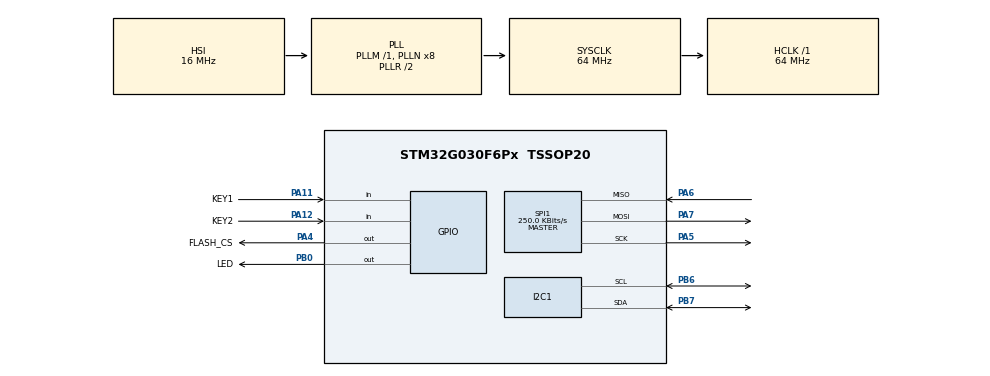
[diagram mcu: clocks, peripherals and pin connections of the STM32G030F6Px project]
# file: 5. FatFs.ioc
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FATFS._CODE_PAGE=437
FATFS._MAX_SS=4096
FATFS._USE_LFN=0
I2C1.Timing=0x10707DBC
Mcu.Family=STM32G0
Mcu.Name=STM32G030F6Px
Mcu.Package=TSSOP20
PA11\ [PA9].GPIO_Label=KEY1
PA11\ [PA9].GPIO_PuPd=GPIO_PULLUP
PA11\ [PA9].Signal=GPIO_Input
PA12\ [PA10].GPIO_Label=KEY2
PA12\ [PA10].GPIO_PuPd=GPIO_PULLUP
PA12\ [PA10].Signal=GPIO_Input
PA14-BOOT0__PA15.StandardMode=true
PA4.GPIO_Label=FLASH_CS
PA4.PinState=GPIO_PIN_SET
PA4.Signal=GPIO_Output
PA5.Mode=Full_Duplex_Master
PA5.Signal=SPI1_SCK
PA6.Mode=Full_Duplex_Master
PA6.Signal=SPI1_MISO
PA7.Mode=Full_Duplex_Master
PA7.Signal=SPI1_MOSI
PB0.GPIO_Label=LED
PB0.PinState=GPIO_PIN_SET
PB0.Signal=GPIO_Output
PB0__PB1__PB2__PA8.StandardMode=true
PB3__PB4__PB5__PB6.StandardMode=true
PB6.Mode=I2C
PB6.Signal=I2C1_SCL
PB7.Mode=I2C
PB7.Signal=I2C1_SDA
PB7__PB8.StandardMode=true
PC14-OSC32_IN\ (PC14)__PB9.StandardMode=true
ProjectManager.HeapSize=0x600
ProjectManager.StackSize=0x200
ProjectManager.TargetToolchain=MDK-ARM V5.32
RCC.ADCFreq_Value=64000000
RCC.AHBFreq_Value=64000000
RCC.CortexFreq_Value=64000000
RCC.EXTERNAL_CLOCK_VALUE=12288000
RCC.HCLKFreq_Value=64000000
RCC.HSE_VALUE=8000000
RCC.HSI_VALUE=16000000
RCC.LSE_VALUE=32768
RCC.SYSCLKFreq_VALUE=64000000
RCC.SYSCLKSource=RCC_SYSCLKSOURCE_PLLCLK
RCC.VCOOutputFreq_Value=128000000
SPI1.BaudRatePrescaler=SPI_BAUDRATEPRESCALER_256
SPI1.CLKPhase=SPI_PHASE_1EDGE
SPI1.CLKPolarity=SPI_POLARITY_LOW
SPI1.CalculateBaudRate=250.0 KBits/s
SPI1.Direction=SPI_DIRECTION_2LINES
SPI1.Mode=SPI_MODE_MASTER
SPI1.VirtualType=VM_MASTER
VP_FATFS_VS_Generic.Mode=User_defined
board=custom

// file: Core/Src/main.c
/* USER CODE BEGIN Header */
/**
  ******************************************************************************
  * @file           : main.c
  * @brief          : Main program body
  ******************************************************************************
  * @attention
  *
  * Copyright (c) 2023 STMicroelectronics.
  * All rights reserved.
  *
  * This software is licensed under terms that can be found in the LICENSE file
  * in the root directory of this software component.
  * If no LICENSE file comes with this software, it is provided AS-IS.
  *
  ******************************************************************************
  */
/* USER CODE END Header */
#include "main.h"
#include "app_fatfs.h"
#include "i2c.h"
#include "spi.h"
#include "gpio.h"

/* USER CODE BEGIN Includes */

#include "math.h"

#include "delay.h"

#include "w25qxx.h"
#include "OLED.h"

#include "ff.h"

/* USER CODE END Includes */

void SystemClock_Config(void);

int main(void)
{
  /* USER CODE BEGIN 1 */

	FRESULT fre;
	FATFS frs;

  /* USER CODE END 1 */

  /* MCU Configuration--------------------------------------------------------*/

  /* Reset of all peripherals, Initializes the Flash interface and the Systick. */
  HAL_Init();

  /* Configure the system clock */
  SystemClock_Config();

  /* Initialize all configured peripherals */
  MX_GPIO_Init();
  MX_SPI1_Init();
  MX_I2C1_Init();
  if (MX_FATFS_Init() != APP_OK) {
    Error_Handler();
  }
  /* USER CODE BEGIN 2 */

  OLED_Init();

  /* USER CODE END 2 */

  /* Infinite loop */
  /* USER CODE BEGIN WHILE */

  fre = f_mount(&frs, 0, 1);
  if (fre == FR_NO_FILESYSTEM) {
	  OLED_ShowString(0, 0, (uint8_t*)"no FS!", 8, FILL);
	  OLED_Refresh_Gram();
  } else if (fre != FR_OK) {
	  OLED_ShowString(0, 0, (uint8_t*)"FS error!", 8, FILL);
	  OLED_Refresh_Gram();
  } else {
	  OLED_ShowString(0, 0, (uint8_t*)"SPI Flash mount!", 8, FILL);
	  OLED_Refresh_Gram();
  }

  while (1)
  {
    /* USER CODE END WHILE */

    /* USER CODE BEGIN 3 */
	  HAL_GPIO_TogglePin(GPIOB, GPIO_PIN_0);
	  HAL_Delay(500);
  }
  /* USER CODE END 3 */
}

void SystemClock_Config(void)
{
  RCC_OscInitTypeDef RCC_OscInitStruct = {0};
  RCC_ClkInitTypeDef RCC_ClkInitStruct = {0};

  /** Configure the main internal regulator output voltage
  */
  HAL_PWREx_ControlVoltageScaling(PWR_REGULATOR_VOLTAGE_SCALE1);

  /** Initializes the RCC Oscillators according to the specified parameters
  * in the RCC_OscInitTypeDef structure.
  */
  RCC_OscInitStruct.OscillatorType = RCC_OSCILLATORTYPE_HSI;
  RCC_OscInitStruct.HSIState = RCC_HSI_ON;
  RCC_OscInitStruct.HSIDiv = RCC_HSI_DIV1;
  RCC_OscInitStruct.HSICalibrationValue = RCC_HSICALIBRATION_DEFAULT;
  RCC_OscInitStruct.PLL.PLLState = RCC_PLL_ON;
  RCC_OscInitStruct.PLL.PLLSource = RCC_PLLSOURCE_HSI;
  RCC_OscInitStruct.PLL.PLLM = RCC_PLLM_DIV1;
  RCC_OscInitStruct.PLL.PLLN = 8;
  RCC_OscInitStruct.PLL.PLLP = RCC_PLLP_DIV2;
  RCC_OscInitStruct.PLL.PLLR = RCC_PLLR_DIV2;
  if (HAL_RCC_OscConfig(&RCC_OscInitStruct) != HAL_OK)
  {
    Error_Handler();
  }

  /** Initializes the CPU, AHB and APB buses clocks
  */
  RCC_ClkInitStruct.ClockType = RCC_CLOCKTYPE_HCLK|RCC_CLOCKTYPE_SYSCLK
                              |RCC_CLOCKTYPE_PCLK1;
  RCC_ClkInitStruct.SYSCLKSource = RCC_SYSCLKSOURCE_PLLCLK;
  RCC_ClkInitStruct.AHBCLKDivider = RCC_SYSCLK_DIV1;
  RCC_ClkInitStruct.APB1CLKDivider = RCC_HCLK_DIV1;

  if (HAL_RCC_ClockConfig(&RCC_ClkInitStruct, FLASH_LATENCY_2) != HAL_OK)
  {
    Error_Handler();
  }
}

void Error_Handler(void)
{
  __disable_irq();
  while (1)
  {
  }
}
